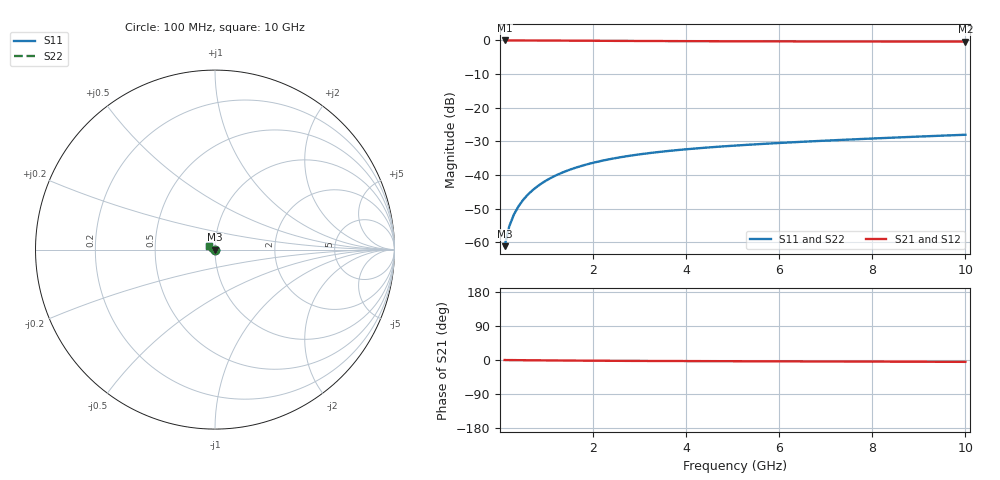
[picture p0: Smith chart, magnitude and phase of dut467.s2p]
! Touchstone file exported from HFSS 2024.1.0
!  File:  C:/UserFiles/LocalFiles/RDL_TSV_Batchsim/temp_TSV1_467_1779698050.aedt
!  Generated:  04:40:22 PM May 25, 2026
!  Design:  TSV1
!  Project:  temp_TSV1_467_1779698050
!  Setup:  Setup1
!  Solution:  Sweep
! Variables:
!  dtsv = 8.56um
!  hbump = 3um
!  htsv = 71.76um
!  lrdl = 252.1521522um
!  p = 40
!  p1 = 58.86um
!  t = 500um
!  trdl = 3um
!  wrdl = 24.89489489um
# GHz S MA R 50.000000
! Terminal data exported
! Port[1] = TSV22_T1
! Port[2] = TSV22_T2
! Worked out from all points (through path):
!   100 points, 100 MHz to 10 GHz, reference 50 ohm
!   highest |S21| = 0.00 dB at 100 MHz (marker M1); lowest = -0.3 dB at 10 GHz (marker M2)
!   lowest |S11| = -61.2 dB at 100 MHz (marker M3), VSWR 1.00, Z = 50 - j0.0858 ohm
!   |S11| at or under -10 dB: start of sweep to end of sweep
!   |S22| runs from -61.2 to -28.1 dB; largest |S21 - S12| = 6.3e-15
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0.1  0.0008712 -80.1  0.9998 -0.1  0.9998 -0.1  0.0008712 -80.1
! Gamma 0 0 0 0
! Port Impedance 50 0 50 0
0.2  0.001722 -88.2  0.9997 -0.2  0.9997 -0.2  0.001722 -88.2
0.3  0.002576 -92.5  0.9995 -0.3  0.9995 -0.3  0.002576 -92.5
0.4  0.003424 -95.8  0.9992 -0.4  0.9992 -0.4  0.003424 -95.8
0.5  0.004266 -98.7  0.9989 -0.5  0.9989 -0.5  0.004266 -98.7
0.6  0.005098 -101.4  0.9986 -0.7  0.9986 -0.7  0.005098 -101.4
0.7  0.005919 -103.9  0.9981 -0.8  0.9981 -0.8  0.005919 -103.9
0.8  0.006727 -106.3  0.9977 -0.9  0.9977 -0.9  0.006727 -106.3
0.9  0.007522 -108.6  0.9971 -1.0  0.9971 -1.0  0.007522 -108.6
1.1  0.009065 -113.1  0.996 -1.1  0.996 -1.1  0.009065 -113.1
1.4  0.01125 -119.6  0.9939 -1.4  0.9939 -1.4  0.01125 -119.6
1.6  0.01262 -123.6  0.9925 -1.6  0.9925 -1.6  0.01262 -123.6
1.8  0.01391 -127.6  0.991 -1.7  0.991 -1.7  0.01391 -127.6
2.1  0.01571 -133.1  0.9887 -1.9  0.9887 -1.9  0.01571 -133.1
2.5  0.01787 -140.1  0.9857 -2.2  0.9857 -2.2  0.01787 -140.1
2.9  0.01978 -146.5  0.9828 -2.4  0.9828 -2.4  0.01978 -146.4
3.4  0.02187 -153.7  0.9796 -2.6  0.9796 -2.6  0.02187 -153.7
4.2  0.02472 -163.9  0.9753 -2.9  0.9753 -2.9  0.02472 -163.9
5.1  0.02743 -173.7  0.9715 -3.3  0.9715 -3.3  0.02743 -173.7
6.7  0.03161 172.2  0.9668 -3.8  0.9668 -3.8  0.03161 172.2
8.4  0.03573 160.5  0.9636 -4.4  0.9636 -4.4  0.03573 160.5
10  0.03957 151.6  0.9615 -4.9  0.9615 -4.9  0.03957 151.6
